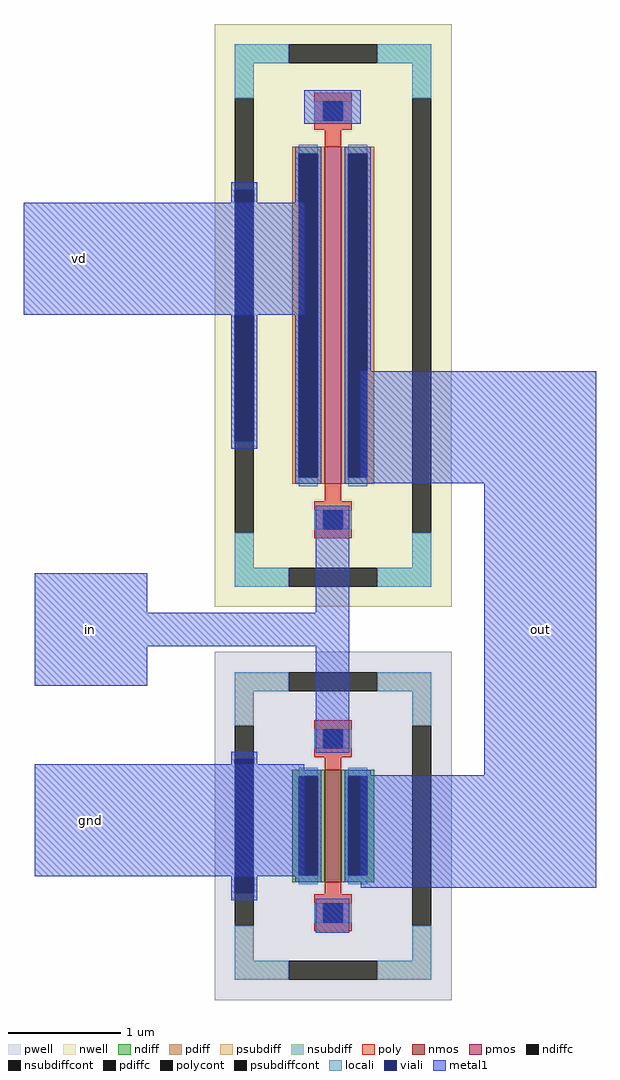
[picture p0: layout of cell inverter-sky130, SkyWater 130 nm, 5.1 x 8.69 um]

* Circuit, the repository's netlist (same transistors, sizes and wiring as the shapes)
** sch_path: /home/hugodg/projects/inverter-sky130/xschem/inverter-sky130.sch
.subckt inverter-sky130 in vd gnd out
*.PININFO in:I vd:B gnd:B out:O
XN0 out in gnd gnd sky130_fd_pr__nfet_01v8 L=0.15 W=1 nf=1 m=1
XP0 out in vd vd sky130_fd_pr__pfet_01v8 L=0.15 W=3 nf=1 m=1
.ends
.end

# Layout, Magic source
magic
tech sky130A
magscale 1 2
<< metal1 >>
rect 40 2040 140 2100
rect -460 1700 40 1900
rect 140 1400 560 1600
rect -440 1170 -240 1240
rect 60 1170 120 1360
rect -440 1110 120 1170
rect -440 1040 -240 1110
rect 60 920 120 1110
rect -440 700 40 900
rect 360 880 560 1400
rect 140 680 560 880
rect 60 600 120 660
use sky130_fd_pr__nfet_01v8_YV35WK  XN0
transform 1 0 91 0 1 790
box -211 -310 211 310
use sky130_fd_pr__pfet_01v8_BSAEC6  XP0
transform 1 0 91 0 1 1699
box -211 -519 211 519
<< labels >>
flabel metal1 -440 1040 -240 1240 0 FreeSans 256 0 0 0 in
port 0 nsew
flabel metal1 -460 1700 -260 1900 0 FreeSans 256 0 0 0 vd
port 1 nsew
flabel metal1 360 1040 560 1240 0 FreeSans 256 0 0 0 out
port 3 nsew
flabel metal1 -440 700 -240 900 0 FreeSans 256 0 0 0 gnd
port 2 nsew
<< end >>

# cell sky130_fd_pr__nfet_01v8_YV35WK: kit device sky130_fd_pr__nfet_01v8, w 1.0 l 0.15 m 1 nf 1 diffcov 100 polycov 100 guard 1 glc 1 grc 1 gtc 1 gbc 1 tbcov 100 rlcov 100 topc 1 botc 1 poverlap 0 doverlap 1 lmin 0.15 wmin 0.42 compatible {sky130_fd_pr__nfet_01v8 sky130_fd_pr__nfet_01v8_lvt sky130_fd_bs_flash__special_sonosfet_star sky130_fd_pr__nfet_g5v0d10v5 sky130_fd_pr__nfet_05v0_nvt sky130_fd_pr__nfet_03v3_nvt} full_metal 1 viasrc 100 viadrn 100 viagate 100 viagb 0 viagr 0 viagl 50 viagt 0

# cell sky130_fd_pr__pfet_01v8_BSAEC6: kit device sky130_fd_pr__pfet_01v8, w 3.0 l 0.15 m 1 nf 1 diffcov 100 polycov 100 guard 1 glc 1 grc 1 gtc 1 gbc 1 tbcov 100 rlcov 100 topc 1 botc 1 poverlap 0 doverlap 1 lmin 0.15 wmin 0.42 compatible {sky130_fd_pr__pfet_01v8 sky130_fd_pr__pfet_01v8_lvt sky130_fd_pr__pfet_01v8_hvt sky130_fd_pr__pfet_g5v0d10v5} full_metal 1 viasrc 100 viadrn 100 viagate 100 viagb 0 viagr 0 viagl 50 viagt 0
